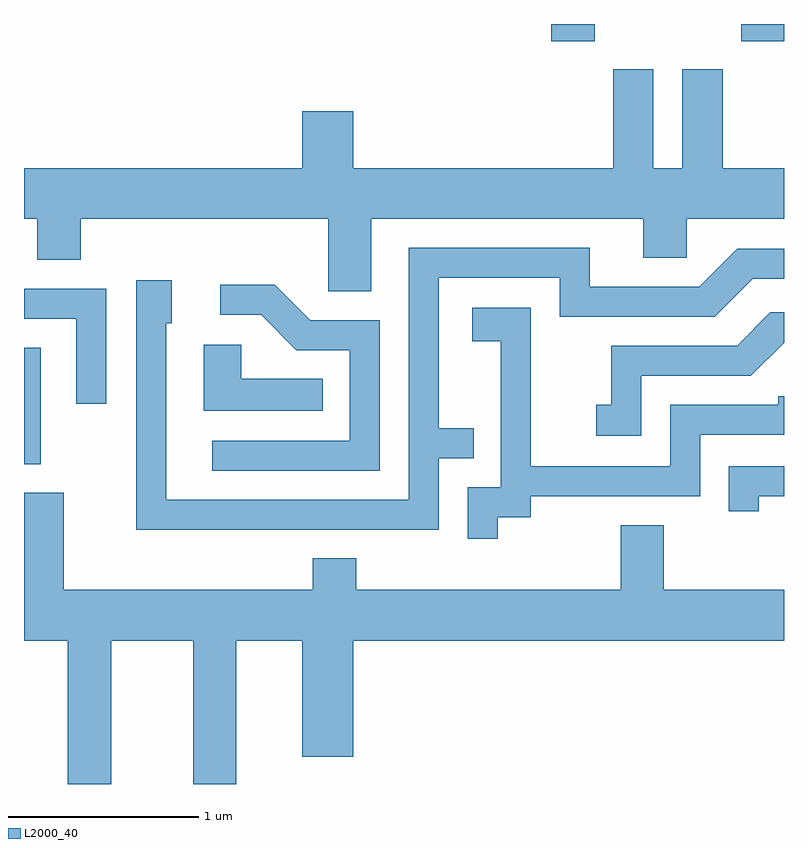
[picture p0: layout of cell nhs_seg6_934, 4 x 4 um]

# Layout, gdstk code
import gdstk
lib = gdstk.Library(unit=1e-6, precision=1e-09)
def R(c, l, rs):  # rectangles x0, y0, x1, y1
    for r in rs: c.add(gdstk.rectangle(r[:2], r[2:], *l))
def P(c, l, *ps):  # polygons
    for p in ps: c.add(gdstk.Polygon(p, *l))
L2000_40 = (2000, 40)

nhs_seg6_934 = lib.new_cell('nhs_seg6_934')
R(nhs_seg6_934, L2000_40, [(213.611,1559.846,213.699,1560.459), (216.386,1562.071,216.614,1562.162), (217.386,1562.071,217.611,1562.162)])
P(nhs_seg6_934, L2000_40, [(216.711,1561.404),(215.344,1561.404),(215.344,1561.704),(215.076,1561.704),(215.076,1561.404),(213.611,1561.404),(213.611,1561.136),(213.681,1561.136),(213.681,1560.921),(213.909,1560.921),(213.909,1561.136),(215.211,1561.136),(215.211,1560.756),(215.439,1560.756),(215.439,1561.136),(216.871,1561.136),(216.871,1560.931),(217.099,1560.931),(217.099,1561.136),(217.611,1561.136),(217.611,1561.404),(217.289,1561.404),(217.289,1561.924),(217.076,1561.924),(217.076,1561.404),(216.924,1561.404),(216.924,1561.924),(216.711,1561.924)],
  [(215.794,1559.876),(215.978,1559.876),(215.978,1560.034),(215.794,1560.034),(215.794,1560.826),(216.431,1560.826),(216.431,1560.621),(217.247,1560.621),(217.447,1560.821),(217.611,1560.821),(217.611,1560.979),(217.364,1560.979),(217.164,1560.779),(216.589,1560.779),(216.589,1560.984),(215.636,1560.984),(215.636,1559.659),(214.359,1559.659),(214.359,1560.586),(214.389,1560.586),(214.389,1560.814),(214.201,1560.814),(214.201,1559.501),(215.794,1559.501)],
  [(215.484,1560.604),(215.117,1560.604),(214.932,1560.789),(214.643,1560.789),(214.643,1560.631),(214.859,1560.631),(215.044,1560.446),(215.326,1560.446),(215.326,1559.969),(214.603,1559.969),(214.603,1559.811),(215.484,1559.811)],
  [(214.044,1560.769),(213.611,1560.769),(213.611,1560.611),(213.886,1560.611),(213.886,1560.163),(214.044,1560.163)],
  [(216.104,1559.566),(216.279,1559.566),(216.279,1559.676),(217.169,1559.676),(217.169,1560.001),(217.611,1560.001),(217.611,1560.204),(217.581,1560.204),(217.581,1560.159),(217.011,1560.159),(217.011,1559.834),(216.279,1559.834),(216.279,1560.669),(215.971,1560.669),(215.971,1560.491),(216.121,1560.491),(216.121,1559.724),(215.946,1559.724),(215.946,1559.453),(216.104,1559.453)],
  [(216.859,1560.311),(217.437,1560.311),(217.611,1560.485),(217.611,1560.644),(217.539,1560.644),(217.364,1560.469),(216.701,1560.469),(216.701,1560.159),(216.623,1560.159),(216.623,1559.996),(216.859,1559.996)],
  [(215.183,1560.294),(214.754,1560.294),(214.754,1560.474),(214.556,1560.474),(214.556,1560.126),(215.183,1560.126)],
  [(217.479,1559.676),(217.611,1559.676),(217.611,1559.834),(217.321,1559.834),(217.321,1559.598),(217.479,1559.598)],
  [(214.069,1558.916),(214.501,1558.916),(214.501,1558.162),(214.729,1558.162),(214.729,1558.916),(215.076,1558.916),(215.076,1558.306),(215.344,1558.306),(215.344,1558.916),(217.611,1558.916),(217.611,1559.184),(216.979,1559.184),(216.979,1559.524),(216.751,1559.524),(216.751,1559.184),(215.359,1559.184),(215.359,1559.349),(215.131,1559.349),(215.131,1559.184),(213.819,1559.184),(213.819,1559.694),(213.611,1559.694),(213.611,1558.916),(213.841,1558.916),(213.841,1558.162),(214.069,1558.162)])

lib.write_gds('nhs_seg6_934.gds')
